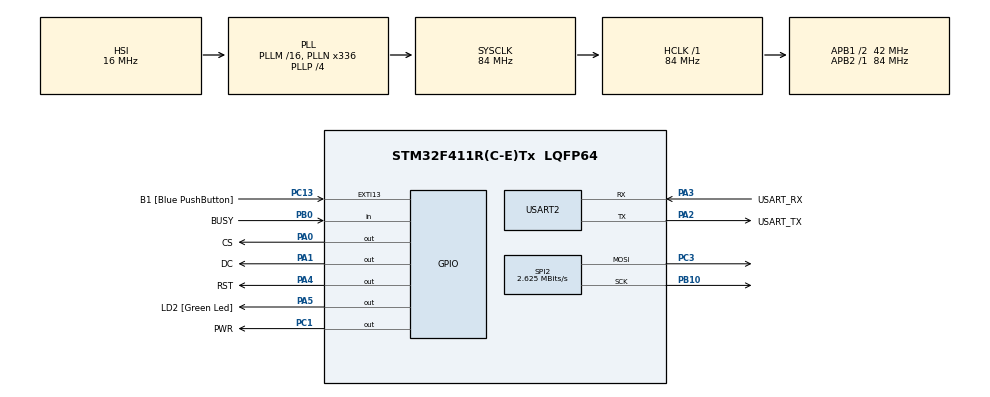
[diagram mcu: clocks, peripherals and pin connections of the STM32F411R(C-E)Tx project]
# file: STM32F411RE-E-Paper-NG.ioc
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Mcu.Family=STM32F4
Mcu.Name=STM32F411R(C-E)Tx
Mcu.Package=LQFP64
NVIC.PriorityGroup=NVIC_PRIORITYGROUP_0
PA0-WKUP.GPIO_Label=CS
PA0-WKUP.Signal=GPIO_Output
PA1.GPIO_Label=DC
PA1.Signal=GPIO_Output
PA13.GPIO_Label=TMS
PA13.Mode=Serial_Wire
PA13.Signal=SYS_JTMS-SWDIO
PA14.GPIO_Label=TCK
PA14.Mode=Serial_Wire
PA14.Signal=SYS_JTCK-SWCLK
PA2.GPIO_Label=USART_TX
PA2.Mode=Asynchronous
PA2.Signal=USART2_TX
PA3.GPIO_Label=USART_RX
PA3.Mode=Asynchronous
PA3.Signal=USART2_RX
PA4.GPIO_Label=RST
PA4.Signal=GPIO_Output
PA5.GPIO_Label=LD2 [Green Led]
PA5.Signal=GPIO_Output
PB0.GPIO_Label=BUSY
PB0.Signal=GPIO_Input
PB10.Mode=TX_Only_Simplex_Unidirect_Master
PB10.Signal=SPI2_SCK
PB3.GPIO_Label=SWO
PB3.Signal=SYS_JTDO-SWO
PC1.GPIO_Label=PWR
PC1.Signal=GPIO_Output
PC13-ANTI_TAMP.GPIO_Label=B1 [Blue PushButton]
PC13-ANTI_TAMP.GPIO_ModeDefaultEXTI=GPIO_MODE_IT_FALLING
PC13-ANTI_TAMP.Signal=GPXTI13
PC14-OSC32_IN.Mode=LSE-External-Oscillator
PC14-OSC32_IN.Signal=RCC_OSC32_IN
PC15-OSC32_OUT.Mode=LSE-External-Oscillator
PC15-OSC32_OUT.Signal=RCC_OSC32_OUT
PC3.Mode=TX_Only_Simplex_Unidirect_Master
PC3.Signal=SPI2_MOSI
PH0\ -\ OSC_IN.Mode=HSE-External-Clock-Source
PH0\ -\ OSC_IN.Signal=RCC_OSC_IN
PH1\ -\ OSC_OUT.Mode=HSE-External-Clock-Source
PH1\ -\ OSC_OUT.Signal=RCC_OSC_OUT
ProjectManager.HeapSize=0x200
ProjectManager.StackSize=0x400
ProjectManager.TargetToolchain=CMake
RCC.48MHZClocksFreq_Value=84000000
RCC.AHBFreq_Value=84000000
RCC.APB1CLKDivider=RCC_HCLK_DIV2
RCC.APB1Freq_Value=42000000
RCC.APB1TimFreq_Value=84000000
RCC.APB2Freq_Value=84000000
RCC.APB2TimFreq_Value=84000000
RCC.CortexFreq_Value=84000000
RCC.FLatency-AdvancedSettings=FLASH_LATENCY_2
RCC.HCLKFreq_Value=84000000
RCC.HSE_VALUE=8000000
RCC.HSI_VALUE=16000000
RCC.PLLN=336
RCC.PLLP=RCC_PLLP_DIV4
RCC.SYSCLKFreq_VALUE=84000000
RCC.SYSCLKSource=RCC_SYSCLKSOURCE_PLLCLK
RCC.VCOOutputFreq_Value=336000000
SPI2.BaudRatePrescaler=SPI_BAUDRATEPRESCALER_16
SPI2.CalculateBaudRate=2.625 MBits/s
SPI2.Direction=SPI_DIRECTION_2LINES
SPI2.Mode=SPI_MODE_MASTER
SPI2.VirtualType=VM_MASTER
USART2.VirtualMode=VM_ASYNC
board=NUCLEO-F411RE

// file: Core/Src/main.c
/* USER CODE BEGIN Header */
/**
  ******************************************************************************
  * @file           : main.c
  * @brief          : Main program body
  ******************************************************************************
  * @attention
  *
  * Copyright (c) 2025 STMicroelectronics.
  * All rights reserved.
  *
  * This software is licensed under terms that can be found in the LICENSE file
  * in the root directory of this software component.
  * If no LICENSE file comes with this software, it is provided AS-IS.
  *
  ******************************************************************************
  */
/* USER CODE END Header */
#include "main.h"
#include "spi.h"
#include "usart.h"
#include "gpio.h"

/* USER CODE BEGIN Includes */
#include "epaper.h"

#include <stdio.h>

#include "fonts/FreeSans9pt7b.h"
#include "fonts/FreeSans12pt7b.h"
#include "fonts/FreeSans18pt7b.h"
#include "fonts/FreeSans24pt7b.h"
#include "fonts/FreeSansBold12pt7b.h"
#include "fonts/FreeSansBold9pt7b.h"
#include "fonts/FreeSansBold18pt7b.h"
#include "fonts/FreeSansBold24pt7b.h"
#include "fonts/FreeSansOblique9pt7b.h"
#include "fonts/FreeSansOblique12pt7b.h"
#include "fonts/FreeSansOblique18pt7b.h"
#include "fonts/FreeSansOblique24pt7b.h"
#include "fonts/FreeSansBoldOblique9pt7b.h"
#include "fonts/FreeSansBoldOblique12pt7b.h"
#include "fonts/FreeSansBoldOblique18pt7b.h"
#include "fonts/FreeSansBoldOblique24pt7b.h"

#include "fonts/FreeSerif9pt7b.h"
#include "fonts/FreeSerif12pt7b.h"
#include "fonts/FreeSerif18pt7b.h"
#include "fonts/FreeSerif24pt7b.h"
#include "fonts/FreeSerifBold9pt7b.h"
#include "fonts/FreeSerifBold12pt7b.h"
#include "fonts/FreeSerifBold18pt7b.h"
#include "fonts/FreeSerifBold24pt7b.h"
#include "fonts/FreeSerifItalic9pt7b.h"
#include "fonts/FreeSerifItalic12pt7b.h"
#include "fonts/FreeSerifItalic18pt7b.h"
#include "fonts/FreeSerifItalic24pt7b.h"
#include "fonts/FreeSerifBoldItalic9pt7b.h"
#include "fonts/FreeSerifBoldItalic12pt7b.h"
#include "fonts/FreeSerifBoldItalic18pt7b.h"
#include "fonts/FreeSerifBoldItalic24pt7b.h"

#include "fonts/FreeMono9pt7b.h"
#include "fonts/FreeMono12pt7b.h"
#include "fonts/FreeMono18pt7b.h"
#include "fonts/FreeMono24pt7b.h"
#include "fonts/FreeMonoBold9pt7b.h"
#include "fonts/FreeMonoBold12pt7b.h"
#include "fonts/FreeMonoBold18pt7b.h"
#include "fonts/FreeMonoBold24pt7b.h"
#include "fonts/FreeMonoOblique9pt7b.h"
#include "fonts/FreeMonoOblique12pt7b.h"
#include "fonts/FreeMonoOblique18pt7b.h"
#include "fonts/FreeMonoOblique24pt7b.h"
#include "fonts/FreeMonoBoldOblique9pt7b.h"
#include "fonts/FreeMonoBoldOblique12pt7b.h"
#include "fonts/FreeMonoBoldOblique18pt7b.h"
#include "fonts/FreeMonoBoldOblique24pt7b.h"

#include "fonts/TomThumb.h"
#include "fonts/Org_01.h"
#include "fonts/Picopixel.h"
#include "fonts/Tiny3x3a2pt7b.h"
/* USER CODE END Includes */

void SystemClock_Config(void);

int main(void)
{

  /* MCU Configuration--------------------------------------------------------*/

  /* Reset of all peripherals, Initializes the Flash interface and the Systick. */
  HAL_Init();

  /* Configure the system clock */
  SystemClock_Config();

  /* Initialize all configured peripherals */
  MX_GPIO_Init();
  MX_USART2_UART_Init();
  MX_SPI2_Init();
  /* USER CODE BEGIN 2 */
  //HAL_GPIO_WritePin(PWR_GPIO_Port, PWR_Pin, 1);
  ePaper_Init();

  ePaper_FrameBufferClear(EPAPER_COLOR_WHITE);
  ePaper_Refresh();

  const GFXfont *fonts[] = {
		&FreeSans9pt7b,
		&FreeSans12pt7b,
		&FreeSans18pt7b,
		&FreeSans24pt7b,
		&FreeSansBold9pt7b,
		&FreeSansBold12pt7b,
		&FreeSansBold18pt7b,
		&FreeSansBold24pt7b,
		&FreeSansOblique9pt7b,
		&FreeSansOblique12pt7b,
		&FreeSansOblique18pt7b,
		&FreeSansOblique24pt7b,
		&FreeSansBoldOblique9pt7b,
		&FreeSansBoldOblique12pt7b,
		&FreeSansBoldOblique18pt7b,
		&FreeSansBoldOblique24pt7b,
		&FreeSerif9pt7b,
		&FreeSerif12pt7b,
		&FreeSerif18pt7b,
		&FreeSerif24pt7b,
		&FreeSerifBold9pt7b,
		&FreeSerifBold12pt7b,
		&FreeSerifBold18pt7b,
		&FreeSerifBold24pt7b,
		&FreeSerifItalic9pt7b,
		&FreeSerifItalic12pt7b,
		&FreeSerifItalic18pt7b,
		&FreeSerifItalic24pt7b,
		&FreeSerifBoldItalic9pt7b,
		&FreeSerifBoldItalic12pt7b,
		&FreeSerifBoldItalic18pt7b,
		&FreeSerifBoldItalic24pt7b,
		&FreeMono9pt7b,
		&FreeMono12pt7b,
		&FreeMono18pt7b,
		&FreeMono24pt7b,
		&FreeMonoBold9pt7b,
		&FreeMonoBold12pt7b,
		&FreeMonoBold18pt7b,
		&FreeMonoBold24pt7b,
		&FreeMonoOblique9pt7b,
		&FreeMonoOblique12pt7b,
		&FreeMonoOblique18pt7b,
		&FreeMonoOblique24pt7b,
		&FreeMonoBoldOblique9pt7b,
		&FreeMonoBoldOblique12pt7b,
		&FreeMonoBoldOblique18pt7b,
		&FreeMonoBoldOblique24pt7b,
		&TomThumb,
		&Org_01,
		&Picopixel,
		&Tiny3x3a2pt7b,
  };

  const char *fontNames[] = {
		"FreeSans9pt7b",
		"FreeSans12pt7b",
		"FreeSans18pt7b",
		"FreeSans24pt7b",
		"FreeSansBold9pt7b",
		"FreeSansBold12pt7b",
		"FreeSansBold18pt7b",
		"FreeSansBold24pt7b",
		"FreeSansOblique9pt7b",
		"FreeSansOblique12pt7b",
		"FreeSansOblique18pt7b",
		"FreeSansOblique24pt7b",
		"FreeSansBoldOblique9pt7b",
		"FreeSansBoldOblique12pt7b",
		"FreeSansBoldOblique18pt7b",
		"FreeSansBoldOblique24pt7b",
		"FreeSerif9pt7b",
		"FreeSerif12pt7b",
		"FreeSerif18pt7b",
		"FreeSerif24pt7b",
		"FreeSerifBold9pt7b",
		"FreeSerifBold12pt7b",
		"FreeSerifBold18pt7b",
		"FreeSerifBold24pt7b",
		"FreeSerifItalic9pt7b",
		"FreeSerifItalic12pt7b",
		"FreeSerifItalic18pt7b",
		"FreeSerifItalic24pt7b",
		"FreeSerifBoldItalic9pt7b",
		"FreeSerifBoldItalic12pt7b",
		"FreeSerifBoldItalic18pt7b",
		"FreeSerifBoldItalic24pt7b",
		"FreeMono9pt7b",
		"FreeMono12pt7b",
		"FreeMono18pt7b",
		"FreeMono24pt7b",
		"FreeMonoBold9pt7b",
		"FreeMonoBold12pt7b",
		"FreeMonoBold18pt7b",
		"FreeMonoBold24pt7b",
		"FreeMonoOblique9pt7b",
		"FreeMonoOblique12pt7b",
		"FreeMonoOblique18pt7b",
		"FreeMonoOblique24pt7b",
		"FreeMonoBoldOblique9pt7b",
		"FreeMonoBoldOblique12pt7b",
		"FreeMonoBoldOblique18pt7b",
		"FreeMonoBoldOblique24pt7b",
		"TomThumb",
		"Org_01",
		"Picopixel",
		"Tiny3x3a2pt7b",
  };

  const uint32_t fontsCount = (uint32_t)(sizeof(fonts) / sizeof(fonts[0]));

  static const char *emojis[] = {
		"👍🏼",
		"👎🏼",
		"🙃",
		"😞",
		"😊",
		"👂🏼",
		"💚",
		"❤️",
		"❌",
		"⭕",
		"⛔",
		"🚫",
		"♨️",
		"🔆",
		"♻️",
		"✅",
		"🔺",
		"🔻",
		"📢",
		"🗯️",
		"💭",
  };

  const uint32_t emojisCount = (uint32_t)(sizeof(emojis) / sizeof(emojis[0]));

  uint32_t fontIndex = 0;
  uint32_t emojiIndex = 0;
  uint32_t nextTick = HAL_GetTick();

  /* USER CODE END 2 */

  /* Infinite loop */
  /* USER CODE BEGIN WHILE */
  while (1)
  {
	  uint32_t now = HAL_GetTick();
	  if ((int32_t)(now - nextTick) >= 0) {
		  uint32_t index = (uint32_t)(fontIndex % fontsCount);
		  const GFXfont *font = fonts[index];
		  const char *fontName = fontNames[index];
		  fontIndex++;

		  const char *emoji = emojis[(uint32_t)(emojiIndex % emojisCount)];
		  emojiIndex++;

		  uint16_t symbolSizePx = 60u;
		  if (font != NULL && font->yAdvance != 0u) {
			  symbolSizePx = font->yAdvance;
		  }
		  if (symbolSizePx < 30u) {
			  symbolSizePx = 30u;
		  }
		  if (symbolSizePx > 200u) {
			  symbolSizePx = 200u;
		  }
		  ePaper_SetSymbolSize(symbolSizePx);

		  ePaper_FrameBufferClear(EPAPER_COLOR_WHITE);

		  ePaper_SetFont(EPAPER_FONT_DEFAULT_8X8);
		  ePaper_SetGfxFont(NULL);
		  ePaper_DrawString(0, 0, "Font demo:", EPAPER_COLOR_BLACK);
		  ePaper_DrawString(0, 10, fontName, EPAPER_COLOR_BLACK);
		  {
			  char line[96];
			  (void)snprintf(line, sizeof(line), "8x8 %s demo %s", emoji, emoji);
			  ePaper_DrawString(0, 22, line, EPAPER_COLOR_BLACK);
		  }

		  ePaper_SetGfxFont(font);
		  {
			  uint16_t y0 = 40u;
			  uint16_t yStep = (font != NULL && font->yAdvance != 0u) ? font->yAdvance : 16u;
			  char line1[96];
			  char line2[96];
			  char line3[96];
			  (void)snprintf(line1, sizeof(line1), "AaBb %s CcDd", emoji);
			  (void)snprintf(line2, sizeof(line2), "0123 %s 4567", emoji);
			  (void)snprintf(line3, sizeof(line3), "RAPPORT %s", emoji);
			  ePaper_DrawString(0, y0, line1, EPAPER_COLOR_BLACK);
			  ePaper_DrawString(0, (uint16_t)(y0 + yStep), line2, EPAPER_COLOR_BLACK);
			  ePaper_DrawString(0, (uint16_t)(y0 + (uint16_t)(2u * yStep)), line3, EPAPER_COLOR_BLACK);
		  }

		  ePaper_Refresh();
		  nextTick += 2000u;
	  }

    /* USER CODE END WHILE */

  }
}

void SystemClock_Config(void)
{
  RCC_OscInitTypeDef RCC_OscInitStruct = {0};
  RCC_ClkInitTypeDef RCC_ClkInitStruct = {0};

  /** Configure the main internal regulator output voltage
  */
  __HAL_RCC_PWR_CLK_ENABLE();
  __HAL_PWR_VOLTAGESCALING_CONFIG(PWR_REGULATOR_VOLTAGE_SCALE1);

  /** Initializes the RCC Oscillators according to the specified parameters
  * in the RCC_OscInitTypeDef structure.
  */
  RCC_OscInitStruct.OscillatorType = RCC_OSCILLATORTYPE_HSI;
  RCC_OscInitStruct.HSIState = RCC_HSI_ON;
  RCC_OscInitStruct.HSICalibrationValue = RCC_HSICALIBRATION_DEFAULT;
  RCC_OscInitStruct.PLL.PLLState = RCC_PLL_ON;
  RCC_OscInitStruct.PLL.PLLSource = RCC_PLLSOURCE_HSI;
  RCC_OscInitStruct.PLL.PLLM = 16;
  RCC_OscInitStruct.PLL.PLLN = 336;
  RCC_OscInitStruct.PLL.PLLP = RCC_PLLP_DIV4;
  RCC_OscInitStruct.PLL.PLLQ = 4;
  if (HAL_RCC_OscConfig(&RCC_OscInitStruct) != HAL_OK)
  {
    Error_Handler();
  }

  /** Initializes the CPU, AHB and APB buses clocks
  */
  RCC_ClkInitStruct.ClockType = RCC_CLOCKTYPE_HCLK|RCC_CLOCKTYPE_SYSCLK
                              |RCC_CLOCKTYPE_PCLK1|RCC_CLOCKTYPE_PCLK2;
  RCC_ClkInitStruct.SYSCLKSource = RCC_SYSCLKSOURCE_PLLCLK;
  RCC_ClkInitStruct.AHBCLKDivider = RCC_SYSCLK_DIV1;
  RCC_ClkInitStruct.APB1CLKDivider = RCC_HCLK_DIV2;
  RCC_ClkInitStruct.APB2CLKDivider = RCC_HCLK_DIV1;

  if (HAL_RCC_ClockConfig(&RCC_ClkInitStruct, FLASH_LATENCY_2) != HAL_OK)
  {
    Error_Handler();
  }
}

void Error_Handler(void)
{
  __disable_irq();
  while (1)
  {
  }
}
